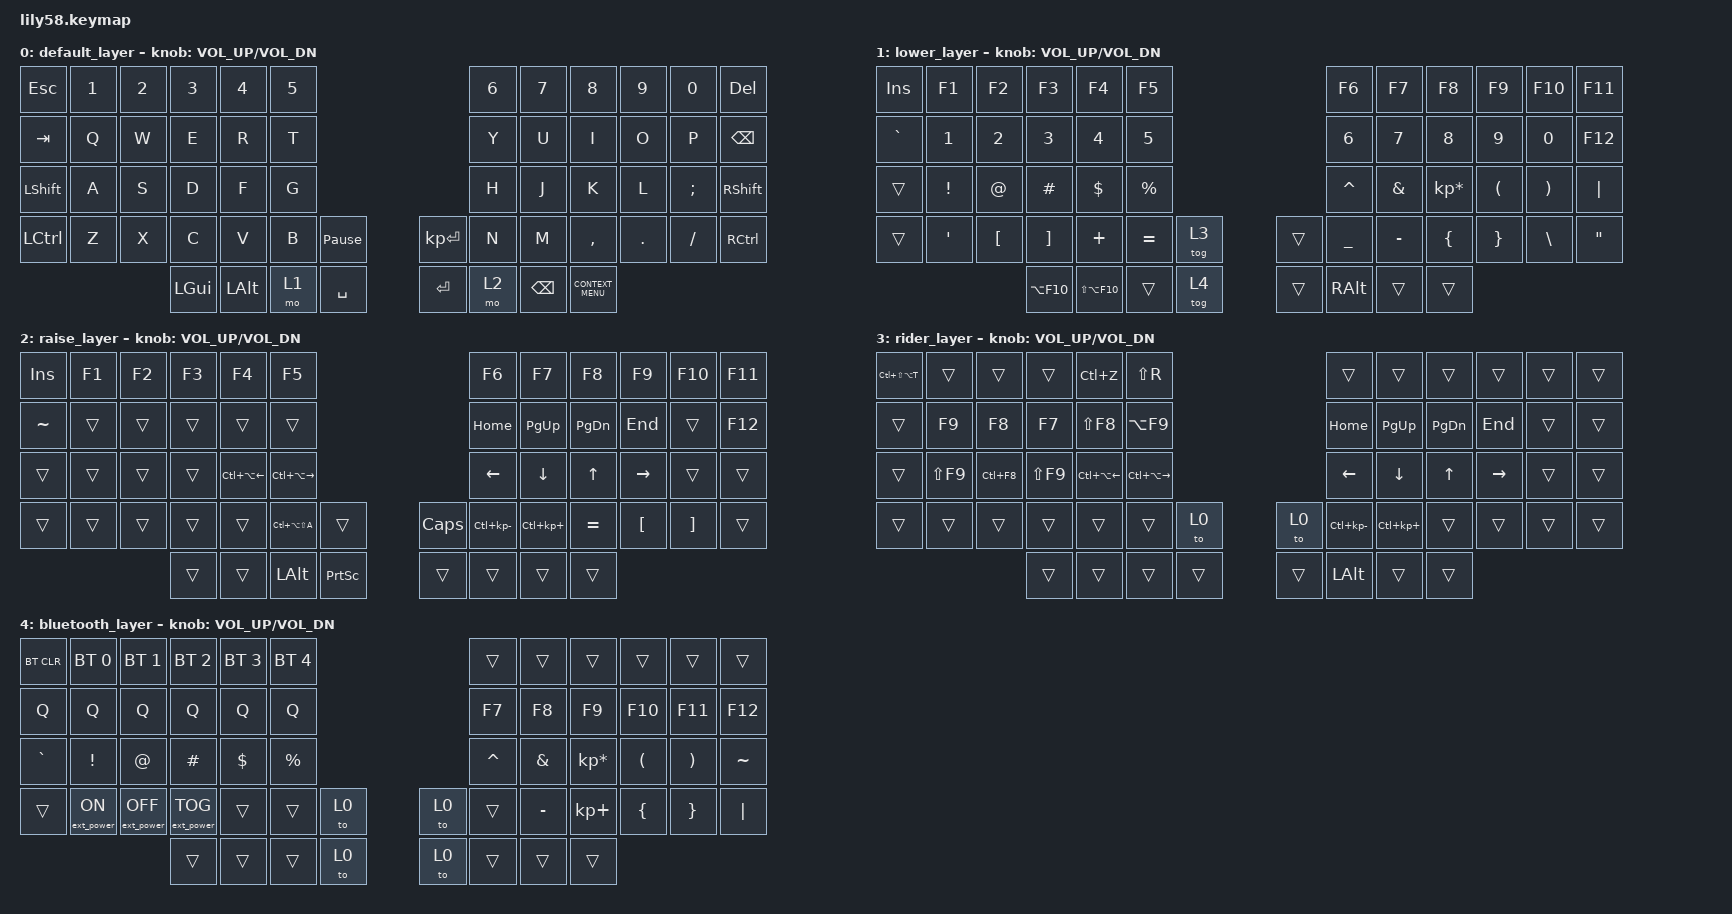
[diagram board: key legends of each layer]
/*
 *
 * Copyright (c) 2020 The ZMK Contributors
 *
 * SPDX-License-Identifier: MIT
 */

#include <behaviors.dtsi>
#include <dt-bindings/zmk/keys.h>
#include <dt-bindings/zmk/bt.h>
#include <dt-bindings/zmk/ext_power.h>

/ {
	keymap {
		compatible = "zmk,keymap";

		default_layer {
// DEFAULTY LAYER (0)
// ------------------------------------------------------------------------------------------------------------
// |  ESC  |  1  |  2  |  3   |  4   |  5   |                   |  6   |  7    |  8    |  9   |   0   |  DEL  |
// |  TAB  |  Q  |  W  |  E   |  R   |  T   |                   |  Y   |  U    |  I    |  O   |   P   | BSPC  |
// | SHIFT |  A  |  S  |  D   |  F   |  G   |                   |  H   |  J    |  K    |  L   |   ;   | SHIFT |
// |  CTRL |  Z  |  X  |  C   |  V   |  B   |  PAUSE |  | N.ENT |  N   |  M    |  ,    |  .   |   /   | CTRL  |
//                     | GUI  | ALT  | LOWER|  SPACE |  | ENTER | RAISE| BSPC  | CMENU |
			bindings = <
&kp ESC   &kp N1 &kp N2 &kp N3   &kp N4   &kp N5                                 &kp N6 &kp N7   &kp N8    &kp N9  &kp N0   &kp DEL
&kp TAB   &kp Q  &kp W  &kp E    &kp R    &kp T                                  &kp Y  &kp U    &kp I     &kp O   &kp P    &kp BSPC
&kp LSHFT &kp A  &kp S  &kp D    &kp F    &kp G                                  &kp H  &kp J    &kp K     &kp L   &kp SEMI &kp RSHFT
&kp LCTRL &kp Z  &kp X  &kp C    &kp V    &kp B  &kp PAUSE_BREAK    &kp KP_ENTER &kp N  &kp M    &kp COMMA &kp DOT &kp FSLH &kp RCTRL
                        &kp LGUI &kp LALT &mo 1  &kp SPACE          &kp RET      &mo 2  &kp BSPC &kp K_CONTEXT_MENU
			>;

			sensor-bindings = <&inc_dec_kp C_VOL_UP C_VOL_DN>;
		};

		lower_layer {
//SYMBOLS LAYER (1)
// Record     = Alt+Shift+F10        -> &kp LS(LA(F10)    -  Nvidia-Record last few minutes
// SaveRecord = ALT+F10              -> &kp LA(F10)       -  Nvidia-Start Recording  
// ------------------------------------------------------------------------------------------------------------
// | INSERT|  F1     |  F2      |  F3        |  F4      |  F5   |                          |  F6  |  F7   |  F8   |  F9  |   F10 |  F11  |
// |  `    |  1      |  2       |  3         |  4       |  5    |                          |  6   |  7    |  8    |  9   |   0   |  F12  |
// |       |  !      |  @       |  #         |  $       |  %    |                          |  ^   |  &    |  *    |  (   |   )   |  "|"  |
// |       |  '      |  [       |  ]         |  +       |  =    |  RIDER_LAYER  |  |       |  _   |  -    |  {    |  }   |   \   |   "   |
//                   |          | SaveRecord | RecordOn |       |  To Bluetooth |  |       |      |       |

			bindings = <
&kp INS    &kp F1           &kp F2            &kp F3            &kp F4           &kp F5                                &kp F6    &kp F7    &kp F8          &kp F9    &kp F10   &kp F11
&kp GRAVE  &kp N1           &kp N2            &kp N3            &kp N4           &kp N5                                &kp N6    &kp N7    &kp N8          &kp N9    &kp N0    &kp F12
&trans     &kp EXCL         &kp AT            &kp HASH          &kp DOLLAR       &kp PRCNT                             &kp CARET &kp AMPS  &kp KP_MULTIPLY &kp LPAR  &kp RPAR  &kp PIPE
&trans     &kp SINGLE_QUOTE &kp LEFT_BRACKET  &kp RIGHT_BRACKET &kp PLUS         &kp EQUAL          &tog 3   &trans    &kp UNDER &kp MINUS &kp LBRC        &kp RBRC  &kp BSLH  &kp DOUBLE_QUOTES
                                              &kp LA(F10)       &kp LS(LA(F10))  &trans             &tog 4    &trans    &kp RALT  &trans    &trans
			>;

			sensor-bindings = <&inc_dec_kp C_VOL_UP C_VOL_DN>;
		};

		raise_layer {
//ARROWS LAYER (2)
// R-BACK     = CTRL+ALT+LEFT_ARROW  -> &kp LC(LA(LEFT))  -  Rider-Back
// R-FORWARD  = CTRL+ALT+LEFT_ARROW  -> &kp LC(LA(RIGHT)) -  Rider-Forward
// R-Colapse  = CTRL+Numpad(-)       -> &kp LC(KP_MINUS)  -  Rider-Colapse code
// R-Expand   = CTRL+Numpad(+)       -> &kp LC(KP_PLUS)   -  Rider-Expand code
// R-Inspect  = CTRL+ALT+SHIFT+A     -> &kp LC(LA(LS(A))) -  Rider-Inspect this
// ------------------------------------------------------------------------------------------------------------
// | INSERT|  F1  |  F2 |  F3  |  F4    |  F5       |                         |  F6        |  F7       |  F8    |  F9  |  F10 |  F11  |
// |   ~   |      |     |      |        |           |                         |  HOME      |  PG_UP    |  PG_DN |  END |      |  F12  |
// |       |      |     |      | R-BACK | R-FORWARD |                         |  <-        |  v        |  ^     |  ->  |      |       |
// |       |      |     |      |        | R-Inspect |              |  | CAPS  |  R-Colapse |  R-Expand |        |      |      |   \   |
//                      |      |        |           | PRINTSCREEN  |  |       |            |           |        |

			bindings = <
&kp INS    &kp F1   &kp F2  &kp F3   &kp F4            &kp F5                                            &kp F6           &kp F7           &kp F8      &kp F9    &kp F10    &kp F11
&kp TILDE  &trans   &trans  &trans   &trans            &trans                                            &kp HOME         &kp PG_UP        &kp PG_DN   &kp END   &trans     &kp F12
&trans     &trans   &trans  &trans   &kp LC(LA(LEFT))  &kp LC(LA(RIGHT))                                 &kp LEFT         &kp DOWN         &kp UP      &kp RIGHT &trans     &trans
&trans     &trans   &trans  &trans   &trans            &kp LC(LA(LS(A)))   &trans            &kp CAPS    &kp LC(KP_MINUS) &kp LC(KP_PLUS)  &kp EQUAL   &kp LBKT  &kp RBKT   &trans
                            &trans   &trans            &kp LALT            &kp PRINTSCREEN   &trans      &trans           &trans           &trans
			>;

			sensor-bindings = <&inc_dec_kp C_VOL_UP C_VOL_DN>;
		};

		rider_layer {
// RIDER LAYER (3)
// R-Refactor = CTRL+SHIFT+ALT+T     -> &kp LC(LS(LA(T))) -  Rider-Refactor this
// R-Attach   = CTRL+ALT+F5          -> &kp LC(LA(F5))    -  Rider-Attach to process
// R-Dettach  = CTRL+F2              -> &kp LC(F2)        -  Rider-Stop Attach to process
// R-UAttach  = SHIHT+F9             -> &kp LS(F9)        -  Rider-Attach to Unity process
// R-BACK     = CTRL+ALT+LEFT_ARROW  -> &kp LC(LA(LEFT))  -  Rider-Back
// R-FORWARD  = CTRL+ALT+LEFT_ARROW  -> &kp LC(LA(RIGHT)) -  Rider-Forward
// S-OUT      = SHIFT+F8             -> &kp LS(F8)        -  Rider-Step out
// S-OVER     = F8                   -> &kp F8            -  Rider-Step over 
// S-IN       = F7                   -> &kp F7            -  Rider-Step over 
// R-TO-C     = ALT+F9               -> &kp LA(F9)        -  Rider-Run to cursor
// R-Colapse  = CTRL+Numpad(-)       -> &kp LC(KP_MINUS)  -  Rider-Colapse code
// R-Expand   = CTRL+Numpad(+)       -> &kp LC(KP_PLUS)   -  Rider-Expand code
// R-BrakeP   = CTRL+F8              -> &kp LC(F8)        -  Rider-Toggle brake point
// R-Resume   = F9                   -> &kp F9            -  Rider-Resume program
// ------------------------------------------------------------------------------------------------------------
// | R-Refactor |     1     |    2     |   3      |  Undo   |    R      |                           |            |           |         |       |       |       |
// |            | R-Resume  | S-OVER   | S-IN     |  S-OUT  | R-TO-C    |                           |  HOME      |  PG_UP    |   PG_DN |  END  |       |       |
// |            | R-UAttach | R-BrakeP | R-Detach |  R-BACK | R-FORWARD |                           |  <-        |  v        |    ^    |   ->  |       |       |
// |            |           |          |          |         |           |  DEFAULT |     | DEFAULT  |  R-Colapse |  R-Expand |         |       |       |       |  
//                                     |          |         |           |          |     |          |  R-ALT     |           |         |

			bindings = <
&kp LC(LS(LA(T))) &trans            &trans      &trans     &kp LC(Z)         &kp LS(R)                                          &trans           &trans          &trans      &trans    &trans     &trans
&trans            &kp F9            &kp F8      &kp F7     &kp LS(F8)        &kp LA(F9)                                     &kp HOME         &kp PG_UP       &kp PG_DN   &kp END   &trans     &trans
&trans            &kp LS(F9)        &kp LC(F8)  &kp LS(F9) &kp LC(LA(LEFT))  &kp LC(LA(RIGHT))                              &kp LEFT         &kp DOWN        &kp UP      &kp RIGHT &trans     &trans
&trans            &trans            &trans      &trans     &trans            &trans              &to 0       &to 0          &kp LC(KP_MINUS) &kp LC(KP_PLUS) &trans      &trans    &trans     &trans
                                                &trans     &trans            &trans              &trans      &trans         &kp LALT         &trans          &trans
			>;

			sensor-bindings = <&inc_dec_kp C_VOL_UP C_VOL_DN>;
		};


		bluetooth_layer {
// BLUETOOTH LAYER (4)
// ------------------------------------------------------------------------------------------------------------
// | BTCLR | BT1 | BT2 |  BT3 |  BT4 |  BT5 |                       |      |       |       |      |       |       |
// |   Q   |  Q  |  Q  |  Q   |  Q   |  Q   |                       |  F7  |  F8   |  F9   |  F10 |  F11  |  F12  |
// |   `   |  !  |  @  |  #   |  $   |  %   |                       |  ^   |  &    |  *    |  (   |   )   |   ~   |
// |       |     |     |      |      |      | DEFAULT  |  | DEFAULT |      |  _    |  +    |  {   |   }   |  "|"  |
//                     |      |      |      | DEFAULT  |  | DEFAULT |      |       |       |
			bindings = <
&bt BT_CLR &bt BT_SEL 0     &bt BT_SEL 1      &bt BT_SEL 2      &bt BT_SEL 3 &bt BT_SEL 4                 &trans    &trans    &trans          &trans    &trans    &trans
&kp Q      &kp Q            &kp Q             &kp Q             &kp Q        &kp Q                        &kp F7    &kp F8    &kp F9          &kp F10   &kp F11   &kp F12
&kp GRAVE  &kp EXCL         &kp AT            &kp HASH          &kp DOLLAR   &kp PRCNT                    &kp CARET &kp AMPS  &kp KP_MULTIPLY &kp LPAR  &kp RPAR  &kp TILDE
&trans     &ext_power EP_ON &ext_power EP_OFF &ext_power EP_TOG &trans       &trans    &to 0   &to 0      &trans    &kp MINUS &kp KP_PLUS     &kp LBRC  &kp RBRC  &kp PIPE
                                              &trans            &trans       &trans    &to 0   &to 0      &trans    &trans    &trans
			>;

			sensor-bindings = <&inc_dec_kp C_VOL_UP C_VOL_DN>;
		};
	};
};
